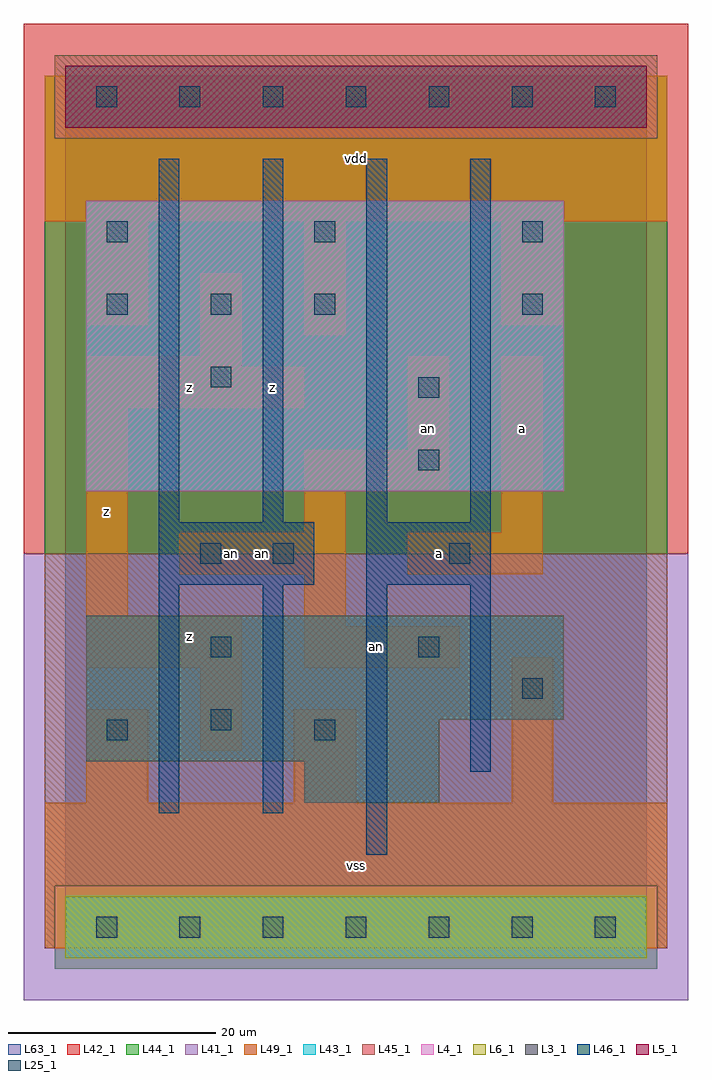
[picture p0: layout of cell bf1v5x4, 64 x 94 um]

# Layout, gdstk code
import gdstk
lib = gdstk.Library(unit=1e-6, precision=1e-09)
def R(c, l, rs):  # rectangles x0, y0, x1, y1
    for r in rs: c.add(gdstk.rectangle(r[:2], r[2:], *l))
def A(c, l, x, y, w, h, nx, ny, dx, dy):  # array of equal rectangles
    R(c, l, [(x+i*dx, y+j*dy, x+i*dx+w, y+j*dy+h) for i in range(nx) for j in range(ny)])
L3_1 = (3, 1)
L4_1 = (4, 1)
L5_1 = (5, 1)
L6_1 = (6, 1)
L25_1 = (25, 1)
L41_1 = (41, 1)
L42_1 = (42, 1)
L43_1 = (43, 1)
L44_1 = (44, 1)
L45_1 = (45, 1)
L46_1 = (46, 1)
L49_1 = (49, 1)
L63_1 = (63, 1)

bf1v5x4 = lib.new_cell('bf1v5x4')
R(bf1v5x4, L3_1, [(23,12,36,16), (2,16,36,20), (2,20,48,30)])
R(bf1v5x4, L4_1, [(2,42,48,70)])
R(bf1v5x4, L5_1, [(0,77,56,83)])
R(bf1v5x4, L6_1, [(0,-3,56,3), (0,-3,56,3)])
A(bf1v5x4, L25_1, 3, -1, 2, 2, 7, 2, 8, 80)
A(bf1v5x4, L25_1, 4, 59, 2, 2, 3, 1, 10, 0)
A(bf1v5x4, L25_1, 4, 66, 2, 2, 3, 1, 20, 0)
R(bf1v5x4, L25_1, [(4,18,6,20), (24,18,26,20), (14,19,16,21), (44,22,46,24), (14,26,16,28), (34,26,36,28), (13,35,15,37), (20,35,22,37), (37,35,39,37), (34,44,36,46), (34,51,36,53), (14,52,16,54), (44,59,46,61)])
R(bf1v5x4, L41_1, [(-4,-7,60,36)])
R(bf1v5x4, L42_1, [(-4,36,60,87)])
R(bf1v5x4, L43_1, [(0,-3,56,3), (23,12,36,16), (2,16,36,20), (2,20,48,30), (2,42,48,70), (0,77,56,83)])
R(bf1v5x4, L44_1, [(-1,-4,57,4), (-2,36,58,76), (-2,76,-1,82), (57,76,58,82)])
R(bf1v5x4, L45_1, [(-2,-2,-1,4), (57,-2,58,4), (-2,4,58,36), (-1,76,57,84)])
A(bf1v5x4, L46_1, 9, 39, 2, 35, 4, 1, 10, 0)
R(bf1v5x4, L46_1, [(29,7,31,33), (9,11,11,33), (19,11,21,33), (39,15,41,33), (9,33,24,39), (29,33,41,39)])
R(bf1v5x4, L49_1, [(-2,-2,58,12), (2,12,8,21), (22,12,28,21), (43,12,47,26), (13,17,17,25), (2,25,17,30), (23,25,38,29), (23,29,27,34), (2,30,6,50), (11,34,27,38), (33,34,46,38), (23,38,27,42), (42,38,46,55), (23,42,37,46), (33,46,37,55), (2,50,23,54), (2,54,17,55), (13,55,17,63), (23,57,27,68), (2,58,8,68), (42,58,48,68), (-2,68,58,82)])
R(bf1v5x4, L63_1, [(0,0,56,80)])
bf1v5x4.add(gdstk.Label('an', (16,36), layer=46, texttype=1))
bf1v5x4.add(gdstk.Label('z', (4,40), layer=49, texttype=1))
bf1v5x4.add(gdstk.Label('z', (12,28), layer=49, texttype=1))
bf1v5x4.add(gdstk.Label('an', (19,36), layer=49, texttype=1))
bf1v5x4.add(gdstk.Label('z', (12,52), layer=49, texttype=1))
bf1v5x4.add(gdstk.Label('z', (20,52), layer=49, texttype=1))
bf1v5x4.add(gdstk.Label('vss', (28,6), layer=49, texttype=1))
bf1v5x4.add(gdstk.Label('an', (30,27), layer=49, texttype=1))
bf1v5x4.add(gdstk.Label('a', (36,36), layer=49, texttype=1))
bf1v5x4.add(gdstk.Label('an', (35,48), layer=49, texttype=1))
bf1v5x4.add(gdstk.Label('vdd', (28,74), layer=49, texttype=1))
bf1v5x4.add(gdstk.Label('a', (44,48), layer=49, texttype=1))

lib.write_gds('bf1v5x4.gds')
